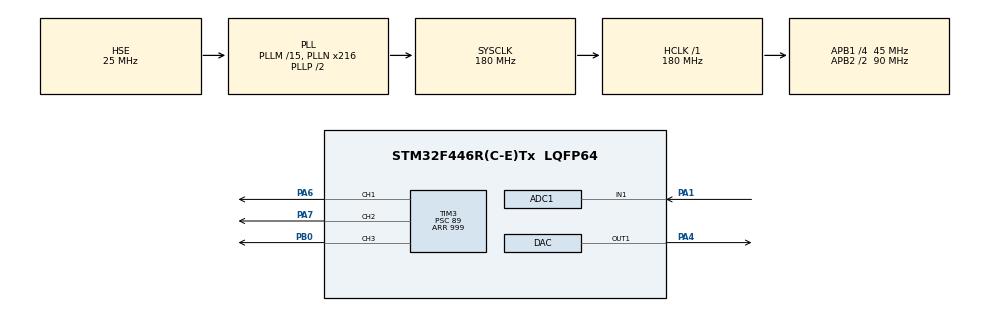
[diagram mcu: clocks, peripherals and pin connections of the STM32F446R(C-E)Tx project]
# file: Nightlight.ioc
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ADC1.Channel-7\#ChannelRegularConversion=ADC_CHANNEL_1
ADC1.ExternalTrigConv=ADC_EXTERNALTRIGCONV_T2_TRGO
ADC1.NbrOfConversionFlag=1
ADC1.Rank-7\#ChannelRegularConversion=1
ADC1.SamplingTime-7\#ChannelRegularConversion=ADC_SAMPLETIME_3CYCLES
ADC1.master=1
Mcu.Family=STM32F4
Mcu.Name=STM32F446R(C-E)Tx
Mcu.Package=LQFP64
NVIC.ADC_IRQn=true\:0\:0\:false\:false\:true\:true\:true\:true
NVIC.PriorityGroup=NVIC_PRIORITYGROUP_4
PA1.Signal=ADCx_IN1
PA13.Mode=Serial_Wire
PA13.Signal=SYS_JTMS-SWDIO
PA14.Mode=Serial_Wire
PA14.Signal=SYS_JTCK-SWCLK
PA4.Signal=COMP_DAC1_group
PA6.Signal=S_TIM3_CH1
PA7.Signal=S_TIM3_CH2
PB0.Signal=S_TIM3_CH3
PH0-OSC_IN.Mode=HSE-External-Clock-Source
PH0-OSC_IN.Signal=RCC_OSC_IN
PH1-OSC_OUT.Mode=HSE-External-Clock-Source
PH1-OSC_OUT.Signal=RCC_OSC_OUT
ProjectManager.HeapSize=0x200
ProjectManager.StackSize=0x400
ProjectManager.TargetToolchain=STM32CubeIDE
RCC.AHBFreq_Value=180000000
RCC.APB1CLKDivider=RCC_HCLK_DIV4
RCC.APB1Freq_Value=45000000
RCC.APB1TimFreq_Value=90000000
RCC.APB2CLKDivider=RCC_HCLK_DIV2
RCC.APB2Freq_Value=90000000
RCC.APB2TimFreq_Value=180000000
RCC.CortexFreq_Value=180000000
RCC.HCLKFreq_Value=180000000
RCC.PLLM=15
RCC.PLLN=216
RCC.PLLSourceVirtual=RCC_PLLSOURCE_HSE
RCC.SYSCLKFreq_VALUE=180000000
RCC.SYSCLKSource=RCC_SYSCLKSOURCE_PLLCLK
RCC.USBFreq_Value=180000000
RCC.VCOOutputFreq_Value=360000000
SH.ADCx_IN1.0=ADC1_IN1,IN1
SH.COMP_DAC1_group.0=DAC_OUT1,DAC_OUT1
SH.S_TIM3_CH1.0=TIM3_CH1,PWM Generation1 CH1
SH.S_TIM3_CH2.0=TIM3_CH2,PWM Generation2 CH2
SH.S_TIM3_CH3.0=TIM3_CH3,PWM Generation3 CH3
TIM2.Period=99
TIM2.Prescaler=8999
TIM2.TIM_MasterOutputTrigger=TIM_TRGO_UPDATE
TIM3.Channel-PWM\ Generation1\ CH1=TIM_CHANNEL_1
TIM3.Channel-PWM\ Generation2\ CH2=TIM_CHANNEL_2
TIM3.Channel-PWM\ Generation3\ CH3=TIM_CHANNEL_3
TIM3.Period=999
TIM3.Prescaler=89
VP_TIM2_VS_ClockSourceINT.Mode=Internal
VP_TIM3_VS_ClockSourceINT.Mode=Internal
board=custom

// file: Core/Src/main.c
/* USER CODE BEGIN Header */
/**
  ******************************************************************************
  * @file           : main.c
  * @brief          : Main program body
  ******************************************************************************
  * @attention
  *
  * Copyright (c) 2026 STMicroelectronics.
  * All rights reserved.
  *
  * This software is licensed under terms that can be found in the LICENSE file
  * in the root directory of this software component.
  * If no LICENSE file comes with this software, it is provided AS-IS.
  *
  ******************************************************************************
  */
/* USER CODE END Header */
#include "main.h"

/* USER CODE BEGIN PD */
#define ADC1_SR (*(volatile uint32_t *) (0x40012000UL + 0x00UL))
#define ADC1_CR1 (*(volatile uint32_t *) (0x40012000UL + 0x04UL))
#define ADC1_CR2 (*(volatile uint32_t *) (0x40012000UL + 0x08UL))
#define ADC1_DR (*(volatile uint32_t *) (0x40012000UL + 0x4CUL))

#define DAC_CR (*(volatile uint32_t *) (0x40007400 + 0x00UL))
#define DAC_DHR12R1 (*(volatile uint32_t *) (0x40007400 + 0x08UL))

#define ADC_MIN		500U ///////// check this val
#define ADC_MAX		3500U /////
#define STAGE_SPAN      ((ADC_MAX - ADC_MIN) / 3U)
#define PWM_LOWER_BOUND (ADC_MIN + STAGE_SPAN)
#define PWM_UPPER_BOUND (ADC_MIN + 2U * STAGE_SPAN)
#define PWM_MAX_VAL		999U

#define TESTING 0 /// If 1, use DAC. If 0, assume photoresistor is in circuit
/* USER CODE END PD */

ADC_HandleTypeDef hadc1;

DAC_HandleTypeDef hdac;

TIM_HandleTypeDef htim2;
TIM_HandleTypeDef htim3;

/* USER CODE BEGIN PV */
volatile uint32_t adc_val = 0;
volatile uint32_t duty_red = 0;
volatile uint32_t duty_green = 0;
volatile uint32_t duty_blue = 0;

volatile uint32_t dac_val = 500;
/* USER CODE END PV */

void SystemClock_Config(void);
static void MX_GPIO_Init(void);
static void MX_ADC1_Init(void);
static void MX_DAC_Init(void);
static void MX_TIM2_Init(void);
static void MX_TIM3_Init(void);

int main(void)
{

  /* MCU Configuration--------------------------------------------------------*/

  /* Reset of all peripherals, Initializes the Flash interface and the Systick. */
  HAL_Init();

  /* Configure the system clock */
  SystemClock_Config();

  /* Initialize all configured peripherals */
  MX_GPIO_Init();
  MX_ADC1_Init();
  MX_DAC_Init();
  MX_TIM2_Init();
  MX_TIM3_Init();
  /* USER CODE BEGIN 2 */

  // ADC EOC interrupt: ADC1_CR1 |= (1U << 5);
  HAL_ADC_Start_IT(&hadc1);

  // Timer
  HAL_TIM_PWM_Start(&htim3, TIM_CHANNEL_1);
  HAL_TIM_PWM_Start(&htim3, TIM_CHANNEL_2);
  HAL_TIM_PWM_Start(&htim3, TIM_CHANNEL_3);

  HAL_TIM_Base_Start(&htim2);

  // DAC start
  HAL_DAC_Start(&hdac, DAC_CHANNEL_1); // DAC_CR |= (1U << 0);
  HAL_DAC_SetValue(&hdac, DAC_CHANNEL_1, DAC_ALIGN_12B_R, dac_val);

  /* USER CODE END 2 */

  /* Infinite loop */
  while (1)
  {
    /* USER CODE BEGIN 3 */
	__WFI();
  }
  /* USER CODE END 3 */
}

void SystemClock_Config(void)
{
  RCC_OscInitTypeDef RCC_OscInitStruct = {0};
  RCC_ClkInitTypeDef RCC_ClkInitStruct = {0};

  /** Configure the main internal regulator output voltage
  */
  __HAL_RCC_PWR_CLK_ENABLE();
  __HAL_PWR_VOLTAGESCALING_CONFIG(PWR_REGULATOR_VOLTAGE_SCALE1);

  /** Initializes the RCC Oscillators according to the specified parameters
  * in the RCC_OscInitTypeDef structure.
  */
  RCC_OscInitStruct.OscillatorType = RCC_OSCILLATORTYPE_HSE;
  RCC_OscInitStruct.HSEState = RCC_HSE_BYPASS;
  RCC_OscInitStruct.PLL.PLLState = RCC_PLL_ON;
  RCC_OscInitStruct.PLL.PLLSource = RCC_PLLSOURCE_HSE;
  RCC_OscInitStruct.PLL.PLLM = 15;
  RCC_OscInitStruct.PLL.PLLN = 216;
  RCC_OscInitStruct.PLL.PLLP = RCC_PLLP_DIV2;
  RCC_OscInitStruct.PLL.PLLQ = 2;
  RCC_OscInitStruct.PLL.PLLR = 2;
  if (HAL_RCC_OscConfig(&RCC_OscInitStruct) != HAL_OK)
  {
    Error_Handler();
  }

  /** Activate the Over-Drive mode
  */
  if (HAL_PWREx_EnableOverDrive() != HAL_OK)
  {
    Error_Handler();
  }

  /** Initializes the CPU, AHB and APB buses clocks
  */
  RCC_ClkInitStruct.ClockType = RCC_CLOCKTYPE_HCLK|RCC_CLOCKTYPE_SYSCLK
                              |RCC_CLOCKTYPE_PCLK1|RCC_CLOCKTYPE_PCLK2;
  RCC_ClkInitStruct.SYSCLKSource = RCC_SYSCLKSOURCE_PLLCLK;
  RCC_ClkInitStruct.AHBCLKDivider = RCC_SYSCLK_DIV1;
  RCC_ClkInitStruct.APB1CLKDivider = RCC_HCLK_DIV4;
  RCC_ClkInitStruct.APB2CLKDivider = RCC_HCLK_DIV2;

  if (HAL_RCC_ClockConfig(&RCC_ClkInitStruct, FLASH_LATENCY_5) != HAL_OK)
  {
    Error_Handler();
  }
}

static void MX_ADC1_Init(void)
{

  ADC_ChannelConfTypeDef sConfig = {0};

  /** Configure the global features of the ADC (Clock, Resolution, Data Alignment and number of conversion)
  */
  hadc1.Instance = ADC1;
  hadc1.Init.ClockPrescaler = ADC_CLOCK_SYNC_PCLK_DIV4;
  hadc1.Init.Resolution = ADC_RESOLUTION_12B;
  hadc1.Init.ScanConvMode = DISABLE;
  hadc1.Init.ContinuousConvMode = DISABLE;
  hadc1.Init.DiscontinuousConvMode = DISABLE;
  hadc1.Init.ExternalTrigConvEdge = ADC_EXTERNALTRIGCONVEDGE_RISING;
  hadc1.Init.ExternalTrigConv = ADC_EXTERNALTRIGCONV_T2_TRGO;
  hadc1.Init.DataAlign = ADC_DATAALIGN_RIGHT;
  hadc1.Init.NbrOfConversion = 1;
  hadc1.Init.DMAContinuousRequests = DISABLE;
  hadc1.Init.EOCSelection = ADC_EOC_SINGLE_CONV;
  if (HAL_ADC_Init(&hadc1) != HAL_OK)
  {
    Error_Handler();
  }

  /** Configure for the selected ADC regular channel its corresponding rank in the sequencer and its sample time.
  */
  sConfig.Channel = ADC_CHANNEL_1;
  sConfig.Rank = 1;
  sConfig.SamplingTime = ADC_SAMPLETIME_3CYCLES;
  if (HAL_ADC_ConfigChannel(&hadc1, &sConfig) != HAL_OK)
  {
    Error_Handler();
  }

}

static void MX_DAC_Init(void)
{

  DAC_ChannelConfTypeDef sConfig = {0};

  /** DAC Initialization
  */
  hdac.Instance = DAC;
  if (HAL_DAC_Init(&hdac) != HAL_OK)
  {
    Error_Handler();
  }

  /** DAC channel OUT1 config
  */
  sConfig.DAC_Trigger = DAC_TRIGGER_NONE;
  sConfig.DAC_OutputBuffer = DAC_OUTPUTBUFFER_ENABLE;
  if (HAL_DAC_ConfigChannel(&hdac, &sConfig, DAC_CHANNEL_1) != HAL_OK)
  {
    Error_Handler();
  }

}

static void MX_TIM2_Init(void)
{

  TIM_ClockConfigTypeDef sClockSourceConfig = {0};
  TIM_MasterConfigTypeDef sMasterConfig = {0};

  htim2.Instance = TIM2;
  htim2.Init.Prescaler = 8999;
  htim2.Init.CounterMode = TIM_COUNTERMODE_UP;
  htim2.Init.Period = 99;
  htim2.Init.ClockDivision = TIM_CLOCKDIVISION_DIV1;
  htim2.Init.AutoReloadPreload = TIM_AUTORELOAD_PRELOAD_DISABLE;
  if (HAL_TIM_Base_Init(&htim2) != HAL_OK)
  {
    Error_Handler();
  }
  sClockSourceConfig.ClockSource = TIM_CLOCKSOURCE_INTERNAL;
  if (HAL_TIM_ConfigClockSource(&htim2, &sClockSourceConfig) != HAL_OK)
  {
    Error_Handler();
  }
  sMasterConfig.MasterOutputTrigger = TIM_TRGO_UPDATE;
  sMasterConfig.MasterSlaveMode = TIM_MASTERSLAVEMODE_DISABLE;
  if (HAL_TIMEx_MasterConfigSynchronization(&htim2, &sMasterConfig) != HAL_OK)
  {
    Error_Handler();
  }

}

static void MX_TIM3_Init(void)
{

  TIM_ClockConfigTypeDef sClockSourceConfig = {0};
  TIM_MasterConfigTypeDef sMasterConfig = {0};
  TIM_OC_InitTypeDef sConfigOC = {0};

  htim3.Instance = TIM3;
  htim3.Init.Prescaler = 89;
  htim3.Init.CounterMode = TIM_COUNTERMODE_UP;
  htim3.Init.Period = 999;
  htim3.Init.ClockDivision = TIM_CLOCKDIVISION_DIV1;
  htim3.Init.AutoReloadPreload = TIM_AUTORELOAD_PRELOAD_DISABLE;
  if (HAL_TIM_Base_Init(&htim3) != HAL_OK)
  {
    Error_Handler();
  }
  sClockSourceConfig.ClockSource = TIM_CLOCKSOURCE_INTERNAL;
  if (HAL_TIM_ConfigClockSource(&htim3, &sClockSourceConfig) != HAL_OK)
  {
    Error_Handler();
  }
  if (HAL_TIM_PWM_Init(&htim3) != HAL_OK)
  {
    Error_Handler();
  }
  sMasterConfig.MasterOutputTrigger = TIM_TRGO_RESET;
  sMasterConfig.MasterSlaveMode = TIM_MASTERSLAVEMODE_DISABLE;
  if (HAL_TIMEx_MasterConfigSynchronization(&htim3, &sMasterConfig) != HAL_OK)
  {
    Error_Handler();
  }
  sConfigOC.OCMode = TIM_OCMODE_PWM1;
  sConfigOC.Pulse = 0;
  sConfigOC.OCPolarity = TIM_OCPOLARITY_HIGH;
  sConfigOC.OCFastMode = TIM_OCFAST_DISABLE;
  if (HAL_TIM_PWM_ConfigChannel(&htim3, &sConfigOC, TIM_CHANNEL_1) != HAL_OK)
  {
    Error_Handler();
  }
  if (HAL_TIM_PWM_ConfigChannel(&htim3, &sConfigOC, TIM_CHANNEL_2) != HAL_OK)
  {
    Error_Handler();
  }
  if (HAL_TIM_PWM_ConfigChannel(&htim3, &sConfigOC, TIM_CHANNEL_3) != HAL_OK)
  {
    Error_Handler();
  }
  HAL_TIM_MspPostInit(&htim3);

}

static void MX_GPIO_Init(void)
{

  /* GPIO Ports Clock Enable */
  __HAL_RCC_GPIOH_CLK_ENABLE();
  __HAL_RCC_GPIOA_CLK_ENABLE();
  __HAL_RCC_GPIOB_CLK_ENABLE();

}

/* USER CODE BEGIN 4 */
uint32_t PWM_duty_correction(uint32_t val, uint32_t stage_min, uint32_t stage_max) {
	// Gamma correction. Normalizes first to accommodate the different ranges.
    float x = (float)(val - stage_min) / (float)(stage_max - stage_min); // 0.0f to 1.0f
    return (uint32_t)(PWM_MAX_VAL * (x * x));
}

void HAL_ADC_ConvCpltCallback(ADC_HandleTypeDef *hadc) {
	adc_val = HAL_ADC_GetValue(hadc); // (2^12)-1==4065 possible values
	if ((adc_val >= ADC_MIN) && (adc_val < PWM_LOWER_BOUND)) { // low bright
		duty_red = PWM_duty_correction(adc_val, ADC_MIN, PWM_LOWER_BOUND);
		//set LED1 (red) to proper percentage between 0 and 999 that is percentage of the first 1/3 of max voltage
		__HAL_TIM_SET_COMPARE(&htim3, TIM_CHANNEL_1, duty_red);
		//set other LEDs to 0
		__HAL_TIM_SET_COMPARE(&htim3, TIM_CHANNEL_2, 0);
		__HAL_TIM_SET_COMPARE(&htim3, TIM_CHANNEL_3, 0);
	}
	else if ((adc_val >= PWM_LOWER_BOUND) && (adc_val < PWM_UPPER_BOUND)) { //medium bright
		duty_green = PWM_duty_correction(adc_val, PWM_LOWER_BOUND, PWM_UPPER_BOUND);
		//set LED1 to max
		__HAL_TIM_SET_COMPARE(&htim3, TIM_CHANNEL_1, PWM_MAX_VAL);
		//set LED2 (green) to proper percentage between 0 and 999 that is percentage of the middle 1/3 of max voltage
		__HAL_TIM_SET_COMPARE(&htim3, TIM_CHANNEL_2, duty_green);
		//set LED3 to zero
		__HAL_TIM_SET_COMPARE(&htim3, TIM_CHANNEL_3, 0);
	}
	else if (adc_val >= PWM_UPPER_BOUND) { // high bright
		duty_blue = PWM_duty_correction(adc_val, PWM_UPPER_BOUND, ADC_MAX);
		//set LED1 and 2 to max
		__HAL_TIM_SET_COMPARE(&htim3, TIM_CHANNEL_1, PWM_MAX_VAL);
		__HAL_TIM_SET_COMPARE(&htim3, TIM_CHANNEL_2, PWM_MAX_VAL);
		//set LED3 (blue) to proper percentage between 0 and 999 that is percentage of the final 1/3 of max voltage
		__HAL_TIM_SET_COMPARE(&htim3, TIM_CHANNEL_3, duty_blue);
	}
	else {
		// If above code doesn't cover all cases (It should cover all cases that aren't wonky) just turn LEDs off.
		__HAL_TIM_SET_COMPARE(&htim3, TIM_CHANNEL_1, 0);
		__HAL_TIM_SET_COMPARE(&htim3, TIM_CHANNEL_2, 0);
		__HAL_TIM_SET_COMPARE(&htim3, TIM_CHANNEL_3, 0);
	}

	if (TESTING == 1) {
		if (dac_val < ADC_MAX) {
			dac_val = dac_val + 10;
		}
		else {
			dac_val = ADC_MIN;
		}
		HAL_DAC_SetValue(&hdac, DAC_CHANNEL_1, DAC_ALIGN_12B_R, dac_val);
	}
}

/* USER CODE END 4 */

void Error_Handler(void)
{
  __disable_irq();
  while (1)
  {
  }
}
